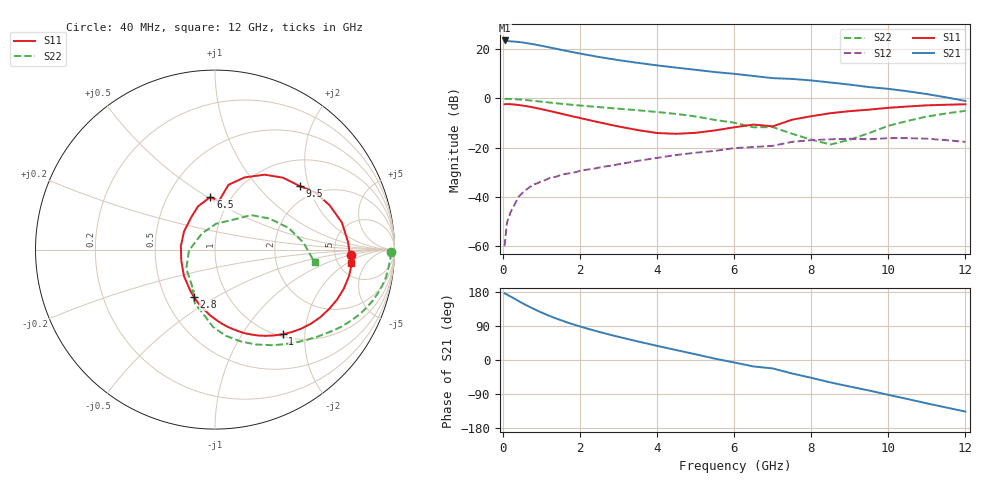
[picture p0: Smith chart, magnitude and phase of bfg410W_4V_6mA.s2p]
! Filename: 46bfg410.001
! BFG410W Field B1
! V1=8.519E-001V,V2=4.000E+000V, I1=7.765E-005A, I2=5.990E-003A
# GHz  S  MA  R 50
!  S11  S21  S12  S22
!Freq(GHz)  Mag  Ang  Mag  Ang  Mag  Ang  Mag  Ang
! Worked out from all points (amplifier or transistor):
!   44 points, 40 MHz to 12 GHz, reference 50 ohm
!   highest |S21| = 23.5 dB at 40 MHz (marker M1)
!   |S21| within 3 dB of that: start of sweep to 1.258 GHz
!   unconditionally stable (mu >= 1): start of sweep to 45.48 MHz; 2.392 GHz to end of sweep
!   at 700 MHz: K = 0.40, MSG = 29.1 dB, |S12| = -35.9 dB
!   at 2.4 GHz: K = 1.00, MAG = 22.4 dB, |S12| = -28.4 dB
!   at 12 GHz: K = 1.56, MAG = 3.9 dB, |S12| = -17.7 dB
!   S11 on the Smith chart (normalised r, x): 40 MHz: 7.17, -1.06; 1 GHz: 1.04, -1.54; 2.8 GHz: 0.70, -0.40; 6.5 GHz: 0.80, +0.51; 9.5 GHz: 1.62, +1.76; 12 GHz: 6.53, -2.26
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0.04  0.76 -2.4  15.01 175.8  0.001 39.3  0.979 -0.9
0.1  0.767 -5.5  14.65 173.0  0.003 74.7  0.979 -2.9
0.3  0.75 -16.9  14.22 161.7  0.007 75.7  0.965 -9.2
0.5  0.716 -27.6  13.68 150.0  0.012 70.7  0.939 -15.0
0.6  0.697 -32.8  13.31 144.7  0.014 68.8  0.925 -17.7
0.8  0.652 -42.5  12.5 134.6  0.018 64.3  0.892 -22.7
1  0.604 -51.4  11.68 125.2  0.021 60.6  0.857 -27.3
1.3  0.535 -63.4  10.46 112.6  0.025 56.4  0.809 -33.1
1.6  0.47 -74.4  9.371 101.5  0.029 53.2  0.765 -38.2
1.9  0.416 -84.4  8.419 91.6  0.032 50.7  0.728 -43.0
2.2  0.368 -94.2  7.609 82.5  0.036 48.6  0.695 -47.6
2.8  0.29 -113.7  6.33 66.1  0.043 45.0  0.636 -56.5
3.5  0.227 -139.7  5.263 48.9  0.054 40.1  0.574 -67.0
4.5  0.191 174.2  4.209 26.1  0.071 30.1  0.483 -83.1
5.5  0.224 126.0  3.427 3.6  0.086 16.2  0.365 -100.2
6.5  0.294 95.1  2.852 -17.0  0.103 3.4  0.259 -119.3
7  0.271 85.4  2.576 -22.3  0.109 9.2  0.261 -116.8
8  0.435 67.7  2.315 -47.0  0.142 -16.9  0.145 -178.3
8.5  0.501 56.4  2.101 -59.3  0.148 -29.6  0.116 128.1
9.5  0.591 36.7  1.696 -80.5  0.148 -49.8  0.198 57.8
10.5  0.685 21.0  1.396 -103.0  0.156 -70.7  0.349 29.8
12  0.76 -5.5  0.888 -136.1  0.131 -110.1  0.559 -7.3
